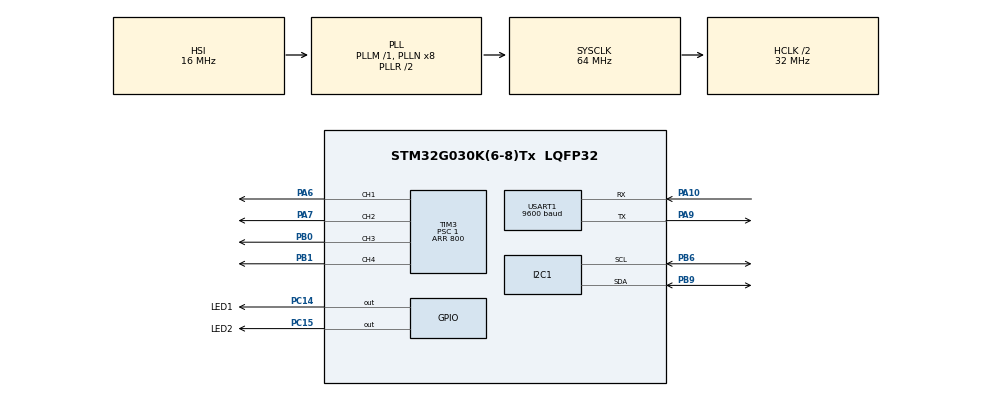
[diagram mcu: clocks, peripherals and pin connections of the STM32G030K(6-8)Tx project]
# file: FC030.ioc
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I2C1.Timing=0x00707CBB
Mcu.Family=STM32G0
Mcu.Name=STM32G030K(6-8)Tx
Mcu.Package=LQFP32
NVIC.USART1_IRQn=true\:0\:0\:false\:false\:true\:true\:true
PA10.Mode=Asynchronous
PA10.Signal=USART1_RX
PA6.GPIO_PuPd=GPIO_PULLDOWN
PA6.GPIO_Speed=GPIO_SPEED_FREQ_VERY_HIGH
PA6.Signal=S_TIM3_CH1
PA7.GPIO_PuPd=GPIO_PULLDOWN
PA7.GPIO_Speed=GPIO_SPEED_FREQ_VERY_HIGH
PA7.Signal=S_TIM3_CH2
PA9.Mode=Asynchronous
PA9.Signal=USART1_TX
PB0.GPIO_PuPd=GPIO_PULLDOWN
PB0.GPIO_Speed=GPIO_SPEED_FREQ_VERY_HIGH
PB0.Signal=S_TIM3_CH3
PB1.GPIO_PuPd=GPIO_PULLDOWN
PB1.GPIO_Speed=GPIO_SPEED_FREQ_VERY_HIGH
PB1.Signal=S_TIM3_CH4
PB6.Mode=I2C
PB6.Signal=I2C1_SCL
PB9.Mode=I2C
PB9.Signal=I2C1_SDA
PC14-OSC32_IN\ (PC14).GPIO_Label=LED1
PC14-OSC32_IN\ (PC14).Signal=GPIO_Output
PC15-OSC32_OUT\ (PC15).GPIO_Label=LED2
PC15-OSC32_OUT\ (PC15).Signal=GPIO_Output
ProjectManager.HeapSize=0x200
ProjectManager.StackSize=0x400
ProjectManager.TargetToolchain=STM32CubeIDE
RCC.ADCFreq_Value=64000000
RCC.AHBCLKDivider=RCC_SYSCLK_DIV2
RCC.AHBFreq_Value=32000000
RCC.CortexFreq_Value=32000000
RCC.EXTERNAL_CLOCK_VALUE=12288000
RCC.HCLKFreq_Value=32000000
RCC.HSE_VALUE=8000000
RCC.HSI_VALUE=16000000
RCC.LSE_VALUE=32768
RCC.SYSCLKFreq_VALUE=64000000
RCC.SYSCLKSource=RCC_SYSCLKSOURCE_PLLCLK
RCC.VCOOutputFreq_Value=128000000
SH.S_TIM3_CH1.0=TIM3_CH1,PWM Generation1 CH1
SH.S_TIM3_CH2.0=TIM3_CH2,PWM Generation2 CH2
SH.S_TIM3_CH3.0=TIM3_CH3,PWM Generation3 CH3
SH.S_TIM3_CH4.0=TIM3_CH4,PWM Generation4 CH4
TIM3.Channel-PWM\ Generation1\ CH1=TIM_CHANNEL_1
TIM3.Channel-PWM\ Generation2\ CH2=TIM_CHANNEL_2
TIM3.Channel-PWM\ Generation3\ CH3=TIM_CHANNEL_3
TIM3.Channel-PWM\ Generation4\ CH4=TIM_CHANNEL_4
TIM3.OCFastMode_PWM-PWM\ Generation1\ CH1=TIM_OCFAST_ENABLE
TIM3.OCFastMode_PWM-PWM\ Generation2\ CH2=TIM_OCFAST_ENABLE
TIM3.OCFastMode_PWM-PWM\ Generation3\ CH3=TIM_OCFAST_ENABLE
TIM3.OCFastMode_PWM-PWM\ Generation4\ CH4=TIM_OCFAST_ENABLE
TIM3.Period=800
TIM3.Prescaler=1
TIM3.Pulse-PWM\ Generation1\ CH1=400
TIM3.Pulse-PWM\ Generation2\ CH2=400
TIM3.Pulse-PWM\ Generation3\ CH3=400
TIM3.Pulse-PWM\ Generation4\ CH4=400
USART1.BaudRate=9600
USART1.VirtualMode-Asynchronous=VM_ASYNC
VP_TIM3_VS_ClockSourceINT.Mode=Internal
board=custom

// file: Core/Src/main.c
/* USER CODE BEGIN Header */
/**
  ******************************************************************************
  * @file           : main.c
  * @brief          : Main program body
  ******************************************************************************
  * @attention
  *
  * <h2><center>&copy; Copyright (c) 2025 STMicroelectronics.
  * All rights reserved.</center></h2>
  *
  * This software component is licensed by ST under BSD 3-Clause license,
  * the "License"; You may not use this file except in compliance with the
  * License. You may obtain a copy of the License at:
  *                        opensource.org/licenses/BSD-3-Clause
  *
  ******************************************************************************
  */
/* USER CODE END Header */
#include "main.h"

/* USER CODE BEGIN Includes */
#include <string.h>
#include <math.h>

void MEMS_MPU6050_Init (void);
void MEMS_MPU6050_Read_Accel (void);
void MEMS_MPU6050_Read_Gyro (void );
void calculate_IMU_error(void);

/* USER CODE END Includes */

I2C_HandleTypeDef hi2c1;

TIM_HandleTypeDef htim3;

UART_HandleTypeDef huart1;

void SystemClock_Config(void);
static void MX_GPIO_Init(void);
static void MX_TIM3_Init(void);
static void MX_I2C1_Init(void);
static void MX_USART1_UART_Init(void);

/* USER CODE BEGIN 0 */
#define MEMS_MPU6050_ADDR 		0xD0
#define WHO_AM_I_REG 		0x75
#define PWR_MGMT_1_REG 		0x6B
#define SMPLRT_DIV_REG		0x19
#define CONFIG_REG_26		0x1A
#define GYRO_CONFIG_REG		0x1B
#define ACCEL_CONFIG_REG	0x1C

#define ACCEL_XOUT_H		0x3B
#define ACCEL_XOUT_L		0x3C
#define ACCEL_YOUT_H		0X3D
#define ACCEL_YOUT_L		0x3E
#define ACCEL_ZOUT_H		0x3F
#define ACCEL_ZOUT_L		0x40

#define GYRO_XOUT_H			0x43
#define GYRO_XOUT_L			0x44
#define GYRO_YOUT_H			0x45
#define GYRO_YOUT_L			0x46
#define GYRO_ZOUT_H			0x47
#define GYRO_ZOUT_L			0x48

#define TRUE                0x1
#define FALSE               0x0

#define Stable_Speed   300
#define Full_Speed   800
#define Half_Speed   350
#define Test_Speed   600

int16_t Accel_X_RAW = 0;
int16_t Accel_Y_RAW = 0;
int16_t Accel_Z_RAW = 0;

int16_t Gyro_X_RAW = 0;
int16_t Gyro_Y_RAW = 0;
int16_t Gyro_Z_RAW = 0;

float GyroErrorX = 0;
float GyroErrorY = 0;
float GyroErrorZ = 0;

float AccErrorX = 0;
float AccErrorY = 0;
float AccErrorZ = 0;

float Ax, Ay, Az, Gx, Gy, Gz;
float AngleRoll, AnglePitch;

unsigned char Rx_data[2];
unsigned char rec_buffer[10];
unsigned char start_buf = FALSE;
int BLE_pnt = 0;
int vHalf_Speed = 0;
char BLE_connected = FALSE;

int duty_cyle1 = 0;
int duty_cyle2 = 0;
int duty_cyle3 = 0;
int duty_cyle4 = 0;

int self_drive = 10;

char INC_MOTOR1 = FALSE;
char INC_MOTOR2 = FALSE;
char INC_MOTOR3 = FALSE;
char INC_MOTOR4 = FALSE;
char DRONE_STOP = FALSE;
char DRONE_UP   = FALSE;
char DRONE_DOWN = FALSE;
char DRONE_LEFT = FALSE;
char DRONE_RIGHT = FALSE;
char DRONE_ROTATE_LEFT = FALSE;
char DRONE_ROTATE_RIGHT = FALSE;
char DRONE_IDLE = FALSE;
char DRONE_HOVER = FALSE;
char Hover_Active = FALSE;
int hover_duty1 = 0;
int hover_duty2 = 0;
int hover_duty3 = 0;
int hover_duty4 = 0;
int rotation_timeout_left = 0;
int rotation_timeout_right = 0;
int max_rotation_duration = 10; // Max rotation duration in loop cycles

char Stablize = FALSE;
char STAB1 = FALSE;
char STAB2 = FALSE;
char CALIBRATE = FALSE;

float xG = 0;
float yG = 0;
float zG = 0;
int rotate = 0;

/* USER CODE END 0 */

int main(void)
{

  /* MCU Configuration--------------------------------------------------------*/

  /* Reset of all peripherals, Initializes the Flash interface and the Systick. */
  HAL_Init();

  /* Configure the system clock */
  SystemClock_Config();

  /* Initialize all configured peripherals */
  MX_GPIO_Init();
  MX_TIM3_Init();
  MX_I2C1_Init();
  MX_USART1_UART_Init();
  /* USER CODE BEGIN 2 */
  HAL_Delay(500); // Add a small delay

  MEMS_MPU6050_Init();
  calculate_IMU_error();

  htim3.Instance->CCR1 = duty_cyle1;
  htim3.Instance->CCR2 = duty_cyle2;
  htim3.Instance->CCR3 = duty_cyle3;
  htim3.Instance->CCR4 = duty_cyle4;
  HAL_TIM_PWM_Start(&htim3, TIM_CHANNEL_1);
  HAL_TIM_PWM_Start(&htim3, TIM_CHANNEL_2);
  HAL_TIM_PWM_Start(&htim3, TIM_CHANNEL_3);
  HAL_TIM_PWM_Start(&htim3, TIM_CHANNEL_4);
  HAL_UART_Receive_IT(&huart1, Rx_data, 1);
  //unsigned char response[125]; //Enough to return all holding-r's
  HAL_GPIO_WritePin(GPIOC, LED1_Pin, GPIO_PIN_SET);
  HAL_GPIO_WritePin(GPIOC, LED2_Pin, GPIO_PIN_RESET);

  // Brief startup sequence
  int startup_speed = 70;
  htim3.Instance->CCR1 = startup_speed;
  htim3.Instance->CCR2 = startup_speed;
  htim3.Instance->CCR3 = startup_speed;
  htim3.Instance->CCR4 = startup_speed;
  HAL_Delay(2000);
  htim3.Instance->CCR1 = 0;
  htim3.Instance->CCR2 = 0;
  htim3.Instance->CCR3 = 0;
  htim3.Instance->CCR4 = 0;

  /* USER CODE END 2 */

  /* Infinite loop */
  while (1)
  {

    /* USER CODE BEGIN 3 */
	  HAL_GPIO_WritePin(GPIOC, LED1_Pin, GPIO_PIN_RESET);
	  HAL_GPIO_WritePin(GPIOC, LED2_Pin, GPIO_PIN_RESET);

	  HAL_Delay(5);
	  MEMS_MPU6050_Read_Accel ();
	  HAL_Delay(5);
	  MEMS_MPU6050_Read_Gyro();
	  HAL_Delay(5);

	  if (DRONE_HOVER)
	  {
		  // Set hover to full power for all motors and update duty cycle variables
		  duty_cyle1 = Full_Speed;
		  duty_cyle2 = Full_Speed;
		  duty_cyle3 = Full_Speed;
		  duty_cyle4 = Full_Speed;
		  Hover_Active = TRUE;

		  // Set motors to hover speeds
		  htim3.Instance->CCR1 = duty_cyle1;
		  htim3.Instance->CCR2 = duty_cyle2;
		  htim3.Instance->CCR3 = duty_cyle3;
		  htim3.Instance->CCR4 = duty_cyle4;

		  DRONE_HOVER = FALSE;
	  }

	  if (DRONE_IDLE)
	  {
		  Hover_Active = FALSE; // Disable hover when going idle
		  duty_cyle1 = 0;
		  duty_cyle2 = 0;
		  duty_cyle3 = 0;
		  duty_cyle4 = 0;
		  htim3.Instance->CCR1 = duty_cyle1;
		  htim3.Instance->CCR2 = duty_cyle2;
		  htim3.Instance->CCR3 = duty_cyle3;
		  htim3.Instance->CCR4 = duty_cyle4;
		  DRONE_IDLE = FALSE;
	  }

	  if (INC_MOTOR1)
	  {
		  // Test front motors at half speed
		  htim3.Instance->CCR1 = Half_Speed;
		  htim3.Instance->CCR2 = Half_Speed;
		  INC_MOTOR1 = FALSE;
	  }

	  if (INC_MOTOR2)
	  {
		  // Test rear motors at half speed
		  htim3.Instance->CCR3 = Half_Speed;
		  htim3.Instance->CCR4 = Half_Speed;
		  INC_MOTOR2 = FALSE;
	  }

	  if (INC_MOTOR3)
	  {
		  duty_cyle3 += 20;
		  if (duty_cyle3 > Full_Speed)
			  duty_cyle3 = Full_Speed; // full speed
		  INC_MOTOR3 = FALSE;
		  htim3.Instance->CCR3 = duty_cyle3;
	  }

	  if (INC_MOTOR4)
	  {
		  duty_cyle4 += 20;
		  if (duty_cyle4 > Full_Speed)
			  duty_cyle4 = Full_Speed; // full speed
		  INC_MOTOR4 = FALSE;
		  htim3.Instance->CCR4 = duty_cyle4;
	  }

	  if (DRONE_UP)
	  {
		  // Safety check: Only allow movement if not at maximum speed
		  if ((duty_cyle1 < Full_Speed) || (duty_cyle2 < Full_Speed) ||
			  (duty_cyle3 < Full_Speed) || (duty_cyle4 < Full_Speed))
		  {
			  duty_cyle1 += 20;
			  duty_cyle2 += 20;
			  duty_cyle3 += 20;
			  duty_cyle4 += 20;

			  // Bounds checking
			  if (duty_cyle1 > Full_Speed) duty_cyle1 = Full_Speed;
			  if (duty_cyle2 > Full_Speed) duty_cyle2 = Full_Speed;
			  if (duty_cyle3 > Full_Speed) duty_cyle3 = Full_Speed;
			  if (duty_cyle4 > Full_Speed) duty_cyle4 = Full_Speed;

			  htim3.Instance->CCR1 = duty_cyle1;
			  htim3.Instance->CCR2 = duty_cyle2;
			  htim3.Instance->CCR3 = duty_cyle3;
			  htim3.Instance->CCR4 = duty_cyle4;
		  }

		  DRONE_UP = FALSE;
	  }

	  if (DRONE_DOWN)
	  {
		  // Safety check: Only allow movement if motors are running
		  if ((duty_cyle1 > 0) || (duty_cyle2 > 0) || (duty_cyle3 > 0) || (duty_cyle4 > 0))
		  {
			  duty_cyle1 -= 20;
			  duty_cyle2 -= 20;
			  duty_cyle3 -= 20;
			  duty_cyle4 -= 20;

			  // Bounds checking
			  if (duty_cyle1 < 0) duty_cyle1 = 0;
			  if (duty_cyle2 < 0) duty_cyle2 = 0;
			  if (duty_cyle3 < 0) duty_cyle3 = 0;
			  if (duty_cyle4 < 0) duty_cyle4 = 0;

			  htim3.Instance->CCR1 = duty_cyle1;
			  htim3.Instance->CCR2 = duty_cyle2;
			  htim3.Instance->CCR3 = duty_cyle3;
			  htim3.Instance->CCR4 = duty_cyle4;
		  }

		  DRONE_DOWN = FALSE;
	  }

	  if (DRONE_LEFT)
	  {
		  // Safety check: Only allow movement if motors are running at minimum speed
		  int min_speed = 100;
		  if ((duty_cyle1 >= min_speed) || (duty_cyle2 >= min_speed) ||
			  (duty_cyle3 >= min_speed) || (duty_cyle4 >= min_speed))
		  {
			  // Increase right motors, decrease left motors for left movement
			  duty_cyle2 += 20; // Right front
			  duty_cyle4 += 20; // Right rear
			  duty_cyle1 -= 10; // Left front
			  duty_cyle3 -= 10; // Left rear

			  // Bounds checking
			  if (duty_cyle2 > Full_Speed) duty_cyle2 = Full_Speed;
			  if (duty_cyle4 > Full_Speed) duty_cyle4 = Full_Speed;
			  if (duty_cyle1 < 0) duty_cyle1 = 0;
			  if (duty_cyle3 < 0) duty_cyle3 = 0;

			  htim3.Instance->CCR1 = duty_cyle1;
			  htim3.Instance->CCR2 = duty_cyle2;
			  htim3.Instance->CCR3 = duty_cyle3;
			  htim3.Instance->CCR4 = duty_cyle4;
		  }

		  DRONE_LEFT = FALSE;
	  }

	  if (DRONE_RIGHT)
	  {
		  // Safety check: Only allow movement if motors are running at minimum speed
		  int min_speed = 100;
		  if ((duty_cyle1 >= min_speed) || (duty_cyle2 >= min_speed) ||
			  (duty_cyle3 >= min_speed) || (duty_cyle4 >= min_speed))
		  {
			  // Increase left motors, decrease right motors for right movement
			  duty_cyle1 += 20; // Left front
			  duty_cyle3 += 20; // Left rear
			  duty_cyle2 -= 10; // Right front
			  duty_cyle4 -= 10; // Right rear

			  // Bounds checking
			  if (duty_cyle1 > Full_Speed) duty_cyle1 = Full_Speed;
			  if (duty_cyle3 > Full_Speed) duty_cyle3 = Full_Speed;
			  if (duty_cyle2 < 0) duty_cyle2 = 0;
			  if (duty_cyle4 < 0) duty_cyle4 = 0;

			  htim3.Instance->CCR1 = duty_cyle1;
			  htim3.Instance->CCR2 = duty_cyle2;
			  htim3.Instance->CCR3 = duty_cyle3;
			  htim3.Instance->CCR4 = duty_cyle4;
		  }

		  DRONE_RIGHT = FALSE;
	  }

	  if (DRONE_ROTATE_LEFT)
	  {
		  // Safety check: Only allow rotation if motors are running at minimum speed
		  int min_speed = 100; // Minimum speed threshold for rotation
		  if ((duty_cyle1 >= min_speed) || (duty_cyle2 >= min_speed) ||
			  (duty_cyle3 >= min_speed) || (duty_cyle4 >= min_speed))
		  {
			  // Start rotation timeout counter
			  if (rotation_timeout_left == 0)
				  rotation_timeout_left = max_rotation_duration;

			  if (rotation_timeout_left > 0)
			  {
				  // Rotate left: Increase front-left & rear-right, decrease front-right & rear-left
				  duty_cyle1 += 15; // Front left +
				  duty_cyle4 += 15; // Rear right +
				  duty_cyle2 -= 15; // Front right -
				  duty_cyle3 -= 15; // Rear left -

				  // Bounds checking
				  if (duty_cyle1 > Full_Speed) duty_cyle1 = Full_Speed;
				  if (duty_cyle4 > Full_Speed) duty_cyle4 = Full_Speed;
				  if (duty_cyle2 < 0) duty_cyle2 = 0;
				  if (duty_cyle3 < 0) duty_cyle3 = 0;

				  htim3.Instance->CCR1 = duty_cyle1;
				  htim3.Instance->CCR2 = duty_cyle2;
				  htim3.Instance->CCR3 = duty_cyle3;
				  htim3.Instance->CCR4 = duty_cyle4;

				  rotation_timeout_left--;
			  }
		  }

		  // Reset rotation flag when timeout expires or safety check fails
		  if (rotation_timeout_left <= 0)
		  {
			  DRONE_ROTATE_LEFT = FALSE;
			  rotation_timeout_left = 0;
		  }
	  }
	  else
	  {
		  // Reset timeout when command is not active
		  rotation_timeout_left = 0;
	  }

	  if (DRONE_ROTATE_RIGHT)
	  {
		  // Safety check: Only allow rotation if motors are running at minimum speed
		  int min_speed = 100; // Minimum speed threshold for rotation
		  if ((duty_cyle1 >= min_speed) || (duty_cyle2 >= min_speed) ||
			  (duty_cyle3 >= min_speed) || (duty_cyle4 >= min_speed))
		  {
			  // Start rotation timeout counter
			  if (rotation_timeout_right == 0)
				  rotation_timeout_right = max_rotation_duration;

			  if (rotation_timeout_right > 0)
			  {
				  // Rotate right: Increase front-right & rear-left, decrease front-left & rear-right
				  duty_cyle2 += 15; // Front right +
				  duty_cyle3 += 15; // Rear left +
				  duty_cyle1 -= 15; // Front left -
				  duty_cyle4 -= 15; // Rear right -

				  // Bounds checking
				  if (duty_cyle2 > Full_Speed) duty_cyle2 = Full_Speed;
				  if (duty_cyle3 > Full_Speed) duty_cyle3 = Full_Speed;
				  if (duty_cyle1 < 0) duty_cyle1 = 0;
				  if (duty_cyle4 < 0) duty_cyle4 = 0;

				  htim3.Instance->CCR1 = duty_cyle1;
				  htim3.Instance->CCR2 = duty_cyle2;
				  htim3.Instance->CCR3 = duty_cyle3;
				  htim3.Instance->CCR4 = duty_cyle4;

				  rotation_timeout_right--;
			  }
		  }

		  // Reset rotation flag when timeout expires or safety check fails
		  if (rotation_timeout_right <= 0)
		  {
			  DRONE_ROTATE_RIGHT = FALSE;
			  rotation_timeout_right = 0;
		  }
	  }
	  else
	  {
		  // Reset timeout when command is not active
		  rotation_timeout_right = 0;
	  }

	  if (DRONE_STOP)
	  {
		  Hover_Active = FALSE; // Disable hover when stopping

		  // Smoothly decrement each motor down to 0 instead of instant stop
		  int step = 20; // decrement step per iteration
		  while ((duty_cyle1 > 0) || (duty_cyle2 > 0) || (duty_cyle3 > 0) || (duty_cyle4 > 0))
		  {
			  if (duty_cyle1 > 0)
			  {
				  duty_cyle1 -= step;
				  if (duty_cyle1 < 0) duty_cyle1 = 0;
			  }
			  if (duty_cyle2 > 0)
			  {
				  duty_cyle2 -= step;
				  if (duty_cyle2 < 0) duty_cyle2 = 0;
			  }
			  if (duty_cyle3 > 0)
			  {
				  duty_cyle3 -= step;
				  if (duty_cyle3 < 0) duty_cyle3 = 0;
			  }
			  if (duty_cyle4 > 0)
			  {
				  duty_cyle4 -= step;
				  if (duty_cyle4 < 0) duty_cyle4 = 0;
			  }

			  htim3.Instance->CCR1 = duty_cyle1;
			  htim3.Instance->CCR2 = duty_cyle2;
			  htim3.Instance->CCR3 = duty_cyle3;
			  htim3.Instance->CCR4 = duty_cyle4;
			  HAL_Delay(20);
		  }
		  DRONE_STOP = FALSE;
	  }

	  // Update PWM outputs to match duty cycle variables
	  htim3.Instance->CCR1 = duty_cyle1;
	  htim3.Instance->CCR2 = duty_cyle2;
	  htim3.Instance->CCR3 = duty_cyle3;
	  htim3.Instance->CCR4 = duty_cyle4;

	  HAL_Delay(20);
  }
  /* USER CODE END 3 */
}

void SystemClock_Config(void)
{
  RCC_OscInitTypeDef RCC_OscInitStruct = {0};
  RCC_ClkInitTypeDef RCC_ClkInitStruct = {0};
  RCC_PeriphCLKInitTypeDef PeriphClkInit = {0};

  /** Configure the main internal regulator output voltage
  */
  HAL_PWREx_ControlVoltageScaling(PWR_REGULATOR_VOLTAGE_SCALE1);
  /** Initializes the RCC Oscillators according to the specified parameters
  * in the RCC_OscInitTypeDef structure.
  */
  RCC_OscInitStruct.OscillatorType = RCC_OSCILLATORTYPE_HSI;
  RCC_OscInitStruct.HSIState = RCC_HSI_ON;
  RCC_OscInitStruct.HSIDiv = RCC_HSI_DIV1;
  RCC_OscInitStruct.HSICalibrationValue = RCC_HSICALIBRATION_DEFAULT;
  RCC_OscInitStruct.PLL.PLLState = RCC_PLL_ON;
  RCC_OscInitStruct.PLL.PLLSource = RCC_PLLSOURCE_HSI;
  RCC_OscInitStruct.PLL.PLLM = RCC_PLLM_DIV1;
  RCC_OscInitStruct.PLL.PLLN = 8;
  RCC_OscInitStruct.PLL.PLLP = RCC_PLLP_DIV2;
  RCC_OscInitStruct.PLL.PLLR = RCC_PLLR_DIV2;
  if (HAL_RCC_OscConfig(&RCC_OscInitStruct) != HAL_OK)
  {
    Error_Handler();
  }
  /** Initializes the CPU, AHB and APB buses clocks
  */
  RCC_ClkInitStruct.ClockType = RCC_CLOCKTYPE_HCLK|RCC_CLOCKTYPE_SYSCLK
                              |RCC_CLOCKTYPE_PCLK1;
  RCC_ClkInitStruct.SYSCLKSource = RCC_SYSCLKSOURCE_PLLCLK;
  RCC_ClkInitStruct.AHBCLKDivider = RCC_SYSCLK_DIV2;
  RCC_ClkInitStruct.APB1CLKDivider = RCC_HCLK_DIV1;

  if (HAL_RCC_ClockConfig(&RCC_ClkInitStruct, FLASH_LATENCY_1) != HAL_OK)
  {
    Error_Handler();
  }
  /** Initializes the peripherals clocks
  */
  PeriphClkInit.PeriphClockSelection = RCC_PERIPHCLK_USART1|RCC_PERIPHCLK_I2C1;
  PeriphClkInit.Usart1ClockSelection = RCC_USART1CLKSOURCE_PCLK1;
  PeriphClkInit.I2c1ClockSelection = RCC_I2C1CLKSOURCE_PCLK1;
  if (HAL_RCCEx_PeriphCLKConfig(&PeriphClkInit) != HAL_OK)
  {
    Error_Handler();
  }
}

static void MX_I2C1_Init(void)
{

  hi2c1.Instance = I2C1;
  hi2c1.Init.Timing = 0x00707CBB;
  hi2c1.Init.OwnAddress1 = 0;
  hi2c1.Init.AddressingMode = I2C_ADDRESSINGMODE_7BIT;
  hi2c1.Init.DualAddressMode = I2C_DUALADDRESS_DISABLE;
  hi2c1.Init.OwnAddress2 = 0;
  hi2c1.Init.OwnAddress2Masks = I2C_OA2_NOMASK;
  hi2c1.Init.GeneralCallMode = I2C_GENERALCALL_DISABLE;
  hi2c1.Init.NoStretchMode = I2C_NOSTRETCH_DISABLE;
  if (HAL_I2C_Init(&hi2c1) != HAL_OK)
  {
    Error_Handler();
  }
  /** Configure Analogue filter
  */
  if (HAL_I2CEx_ConfigAnalogFilter(&hi2c1, I2C_ANALOGFILTER_ENABLE) != HAL_OK)
  {
    Error_Handler();
  }
  /** Configure Digital filter
  */
  if (HAL_I2CEx_ConfigDigitalFilter(&hi2c1, 0) != HAL_OK)
  {
    Error_Handler();
  }

}

static void MX_TIM3_Init(void)
{

  TIM_ClockConfigTypeDef sClockSourceConfig = {0};
  TIM_MasterConfigTypeDef sMasterConfig = {0};
  TIM_OC_InitTypeDef sConfigOC = {0};

  htim3.Instance = TIM3;
  htim3.Init.Prescaler = 1;
  htim3.Init.CounterMode = TIM_COUNTERMODE_UP;
  htim3.Init.Period = 800;
  htim3.Init.ClockDivision = TIM_CLOCKDIVISION_DIV1;
  htim3.Init.AutoReloadPreload = TIM_AUTORELOAD_PRELOAD_DISABLE;
  if (HAL_TIM_Base_Init(&htim3) != HAL_OK)
  {
    Error_Handler();
  }
  sClockSourceConfig.ClockSource = TIM_CLOCKSOURCE_INTERNAL;
  if (HAL_TIM_ConfigClockSource(&htim3, &sClockSourceConfig) != HAL_OK)
  {
    Error_Handler();
  }
  if (HAL_TIM_PWM_Init(&htim3) != HAL_OK)
  {
    Error_Handler();
  }
  sMasterConfig.MasterOutputTrigger = TIM_TRGO_RESET;
  sMasterConfig.MasterSlaveMode = TIM_MASTERSLAVEMODE_DISABLE;
  if (HAL_TIMEx_MasterConfigSynchronization(&htim3, &sMasterConfig) != HAL_OK)
  {
    Error_Handler();
  }
  sConfigOC.OCMode = TIM_OCMODE_PWM1;
  sConfigOC.Pulse = 400;
  sConfigOC.OCPolarity = TIM_OCPOLARITY_HIGH;
  sConfigOC.OCFastMode = TIM_OCFAST_ENABLE;
  if (HAL_TIM_PWM_ConfigChannel(&htim3, &sConfigOC, TIM_CHANNEL_1) != HAL_OK)
  {
    Error_Handler();
  }
  if (HAL_TIM_PWM_ConfigChannel(&htim3, &sConfigOC, TIM_CHANNEL_2) != HAL_OK)
  {
    Error_Handler();
  }
  if (HAL_TIM_PWM_ConfigChannel(&htim3, &sConfigOC, TIM_CHANNEL_3) != HAL_OK)
  {
    Error_Handler();
  }
  if (HAL_TIM_PWM_ConfigChannel(&htim3, &sConfigOC, TIM_CHANNEL_4) != HAL_OK)
  {
    Error_Handler();
  }
  HAL_TIM_MspPostInit(&htim3);

}

static void MX_USART1_UART_Init(void)
{

  huart1.Instance = USART1;
  huart1.Init.BaudRate = 9600;
  huart1.Init.WordLength = UART_WORDLENGTH_8B;
  huart1.Init.StopBits = UART_STOPBITS_1;
  huart1.Init.Parity = UART_PARITY_NONE;
  huart1.Init.Mode = UART_MODE_TX_RX;
  huart1.Init.HwFlowCtl = UART_HWCONTROL_NONE;
  huart1.Init.OverSampling = UART_OVERSAMPLING_16;
  huart1.Init.OneBitSampling = UART_ONE_BIT_SAMPLE_DISABLE;
  huart1.Init.ClockPrescaler = UART_PRESCALER_DIV1;
  huart1.AdvancedInit.AdvFeatureInit = UART_ADVFEATURE_NO_INIT;
  if (HAL_UART_Init(&huart1) != HAL_OK)
  {
    Error_Handler();
  }
  if (HAL_UARTEx_SetTxFifoThreshold(&huart1, UART_TXFIFO_THRESHOLD_1_8) != HAL_OK)
  {
    Error_Handler();
  }
  if (HAL_UARTEx_SetRxFifoThreshold(&huart1, UART_RXFIFO_THRESHOLD_1_8) != HAL_OK)
  {
    Error_Handler();
  }
  if (HAL_UARTEx_DisableFifoMode(&huart1) != HAL_OK)
  {
    Error_Handler();
  }

}

static void MX_GPIO_Init(void)
{
  GPIO_InitTypeDef GPIO_InitStruct = {0};

  /* GPIO Ports Clock Enable */
  __HAL_RCC_GPIOB_CLK_ENABLE();
  __HAL_RCC_GPIOC_CLK_ENABLE();
  __HAL_RCC_GPIOA_CLK_ENABLE();

  /*Configure GPIO pin Output Level */
  HAL_GPIO_WritePin(GPIOC, LED1_Pin|LED2_Pin, GPIO_PIN_RESET);

  /*Configure GPIO pins : LED1_Pin LED2_Pin */
  GPIO_InitStruct.Pin = LED1_Pin|LED2_Pin;
  GPIO_InitStruct.Mode = GPIO_MODE_OUTPUT_PP;
  GPIO_InitStruct.Pull = GPIO_NOPULL;
  GPIO_InitStruct.Speed = GPIO_SPEED_FREQ_LOW;
  HAL_GPIO_Init(GPIOC, &GPIO_InitStruct);

}

/* USER CODE BEGIN 4 */
void MEMS_MPU6050_Init (void)
{
	uint8_t check;
	uint8_t Data;

	// check device ID WHO_AM_I

	HAL_I2C_Mem_Read (&hi2c1, MEMS_MPU6050_ADDR,WHO_AM_I_REG,1, &check, 1, 1000);

	if (check == 104)  // 0x68 will be returned by the sensor if everything goes well
	{
		// power management register 0X6B we should write all 0's to wake the sensor up
		Data = 0;
		HAL_I2C_Mem_Write(&hi2c1, MEMS_MPU6050_ADDR, PWR_MGMT_1_REG, 1,&Data, 1, 1000);
		HAL_Delay(100); // Add a small delay
		// Set DATA RATE of 1KHz by writing SMPLRT_DIV register
		// Set Sample Rate Divider, Accelerometer, and Gyroscope configurations
		HAL_I2C_Mem_Write(&hi2c1, MEMS_MPU6050_ADDR, SMPLRT_DIV_REG, 1, &Data, 1, 1000);
		Data = 0x00;
		HAL_Delay(100); // Add a small delay
		HAL_I2C_Mem_Write(&hi2c1, MEMS_MPU6050_ADDR, ACCEL_CONFIG_REG, 1, &Data, 1, 1000);
		Data = 0x00;
		HAL_Delay(100); // Add a small delay
		HAL_I2C_Mem_Write(&hi2c1, MEMS_MPU6050_ADDR, GYRO_CONFIG_REG, 1, &Data, 1, 1000);
		HAL_Delay(100); // Add a small delay
	}

}

void MEMS_MPU6050_Read_Accel (void)
{
	uint8_t Rec_Data[6];

	// Read 6 BYTES of data starting from ACCEL_XOUT_H register

	HAL_I2C_Mem_Read (&hi2c1, MEMS_MPU6050_ADDR, ACCEL_XOUT_H, 1, Rec_Data, 6, 1000);

	Accel_X_RAW = (int16_t)(Rec_Data[0] << 8 | Rec_Data [1]);
	Accel_Y_RAW = (int16_t)(Rec_Data[2] << 8 | Rec_Data [3]);
	Accel_Z_RAW = (int16_t)(Rec_Data[4] << 8 | Rec_Data [5]);

	/*** convert the RAW values into acceleration in 'g'
	     we have to divide according to the Full scale value set in FS_SEL
	     I have configured FS_SEL = 0. So I am dividing by 16384.0
	     for more details check ACCEL_CONFIG Register              ****/

	Ax = Accel_X_RAW/16384.0;
	Ay = Accel_Y_RAW/16384.0;
	Az = Accel_Z_RAW/16384.0;

	if (Ay > 0.4) // positive value
	{
		HAL_GPIO_WritePin(GPIOC, LED1_Pin, GPIO_PIN_SET);
		HAL_Delay(50);
		STAB2 = TRUE;
	}
	if (Ay < -0.4)
	{
		HAL_GPIO_WritePin(GPIOC, LED2_Pin, GPIO_PIN_SET);
		HAL_Delay(50);
		STAB1 = TRUE;
	}
}

void ClearUARTFlags( void)
{
    __HAL_UART_CLEAR_FLAG(&huart1, UART_FLAG_PE);
    __HAL_UART_CLEAR_FLAG(&huart1, UART_FLAG_FE);
    __HAL_UART_CLEAR_FLAG(&huart1, UART_FLAG_NE);
    __HAL_UART_CLEAR_FLAG(&huart1, UART_FLAG_ORE);
}

void calculate_IMU_error()
{
	int c = 0;
	uint8_t Rec_Data[6];

	AccErrorX = 0;
	AccErrorY = 0;
	AccErrorZ = 0;

	while (c < 200) {
		HAL_I2C_Mem_Read (&hi2c1, MEMS_MPU6050_ADDR, ACCEL_XOUT_H, 1, Rec_Data, 6, 1000);

		Accel_X_RAW = (int16_t)(Rec_Data[0] << 8 | Rec_Data [1]);
		Accel_Y_RAW = (int16_t)(Rec_Data[2] << 8 | Rec_Data [3]);
		Accel_Z_RAW = (int16_t)(Rec_Data[4] << 8 | Rec_Data [5]);

		AccErrorX += Accel_X_RAW/16384.0;
		AccErrorY += Accel_Y_RAW/16384.0;
		AccErrorZ += Accel_Z_RAW/16384.0;
		c++;
  }
  //Divide the sum by 200 to get the error value

	AccErrorX = AccErrorX / 200;
	AccErrorY = AccErrorY / 200;
	AccErrorZ = AccErrorZ / 200;

	c = 0;
  // Read gyro values 200 times
	GyroErrorX = 0;
    GyroErrorY = 0;
    GyroErrorZ = 0;

	while (c < 200) {

		HAL_I2C_Mem_Read (&hi2c1, MEMS_MPU6050_ADDR, GYRO_XOUT_H, 1, Rec_Data, 6, 1000);

		Gyro_X_RAW = (int16_t)(Rec_Data[0] << 8 | Rec_Data [1]);
		Gyro_Y_RAW = (int16_t)(Rec_Data[2] << 8 | Rec_Data [3]);
		Gyro_Z_RAW = (int16_t)(Rec_Data[4] << 8 | Rec_Data [5]);
	    // Sum all readings
		GyroErrorX = GyroErrorX + (Gyro_X_RAW / 131.0);
		GyroErrorY = GyroErrorY + (Gyro_Y_RAW / 131.0);
		GyroErrorZ = GyroErrorZ + (Gyro_Z_RAW / 131.0);
	    c++;
	}
  //Divide the sum by 200 to get the error value
  GyroErrorX = GyroErrorX / 200;
  GyroErrorY = GyroErrorY / 200;
  GyroErrorZ = GyroErrorZ / 200;
}

void MEMS_MPU6050_Read_Gyro (void)
{
	uint8_t Rec_Data[6];

	HAL_I2C_Mem_Read (&hi2c1, MEMS_MPU6050_ADDR, GYRO_XOUT_H, 1, Rec_Data, 6, 1000);

	Gyro_X_RAW = (int16_t)(Rec_Data[0] << 8 | Rec_Data [1]);
	Gyro_Y_RAW = (int16_t)(Rec_Data[2] << 8 | Rec_Data [3]);
	Gyro_Z_RAW = (int16_t)(Rec_Data[4] << 8 | Rec_Data [5]);

	Gx = Gyro_X_RAW/131.0;
	Gy = Gyro_Y_RAW/131.0;
	Gz = Gyro_Z_RAW/131.0;

	Gx = Gx - GyroErrorX; // GyroErrorX ~(-0.56)
	Gy = Gy - GyroErrorY; // GyroErrorY ~(2)
	Gz = Gz - GyroErrorZ; // GyroErrorZ ~ (-0.8)

	if (Gx > 1)
	{
		HAL_GPIO_WritePin(GPIOC, LED1_Pin, GPIO_PIN_SET);
		STAB1 = TRUE;

		HAL_Delay(500);
	}

	if (Gx < -1)
	{
		HAL_GPIO_WritePin(GPIOC, LED2_Pin, GPIO_PIN_SET);
		STAB2 = TRUE;
		HAL_Delay(500);
	}
}

void HAL_UART_RxCpltCallback(UART_HandleTypeDef *huart)
{
	if (huart == &huart1)
	{
		// Simple command processing
		BLE_connected = TRUE;

		if ((Rx_data[0] == 'M') ||
				(Rx_data[0] == '0') ||
				(Rx_data[0] == '1') ||
				(Rx_data[0] == '2') ||
				(Rx_data[0] == '3') ||
				(Rx_data[0] == 'X') ||
				(Rx_data[0] == 'U') ||
				(Rx_data[0] == 'D') ||
				(Rx_data[0] == 'L') ||
				(Rx_data[0] == 'R') ||
				(Rx_data[0] == 'Q') ||
				(Rx_data[0] == 'E') ||
				(Rx_data[0] == 'H') ||
				(Rx_data[0] == 'S'))
		{
			rec_buffer[BLE_pnt] = Rx_data[0];
			BLE_pnt++;
			if (BLE_pnt >= 2)
			{
				if ((rec_buffer[0] == 'M') && (rec_buffer[1] == 'H'))
				{
					DRONE_HOVER = TRUE;
					unsigned char msg[] = "H\r\n";
					HAL_UART_Transmit(&huart1, msg, 3, 100);
				} else
				if ((rec_buffer[0] == 'M') && (rec_buffer[1] == 'S'))
				{
					DRONE_IDLE = TRUE;
					unsigned char msg[] = "S\r\n";
					HAL_UART_Transmit(&huart1, msg, 3, 100);
				} else
				if ((rec_buffer[0] == 'M') && (rec_buffer[1] == '0'))
				{
					INC_MOTOR1 = TRUE;
					unsigned char msg[] = "0\r\n";
					HAL_UART_Transmit(&huart1, msg, 3, 100);
				}
				else if ((rec_buffer[0] == 'M') && (rec_buffer[1] == '1'))
				{
					INC_MOTOR2 = TRUE;
					unsigned char msg[] = "1\r\n";
					HAL_UART_Transmit(&huart1, msg, 3, 100);
				}
				else if ((rec_buffer[0] == 'M') && (rec_buffer[1] == '2'))
				{
					INC_MOTOR3 = TRUE;
					unsigned char msg[] = "2\r\n";
					HAL_UART_Transmit(&huart1, msg, 3, 100);
				}
				else if ((rec_buffer[0] == 'M') && (rec_buffer[1] == '3'))
				{
					INC_MOTOR4 = TRUE;
					unsigned char msg[] = "3\r\n";
					HAL_UART_Transmit(&huart1, msg, 3, 100);
				}
				else if((rec_buffer[0] == 'M') && (rec_buffer[1] == 'U'))
				{
					DRONE_UP = TRUE;
					unsigned char msg[] = "U\r\n";
					HAL_UART_Transmit(&huart1, msg, 3, 100);
				}
				else if((rec_buffer[0] == 'M') && (rec_buffer[1] == 'D'))
				{
					DRONE_DOWN = TRUE;
					unsigned char msg[] = "D\r\n";
					HAL_UART_Transmit(&huart1, msg, 3, 100);
				}
				else if((rec_buffer[0] == 'M') && (rec_buffer[1] == 'L'))
				{
					DRONE_LEFT = TRUE;
					unsigned char msg[] = "L\r\n";
					HAL_UART_Transmit(&huart1, msg, 3, 100);
				}
				else if((rec_buffer[0] == 'M') && (rec_buffer[1] == 'R'))
				{
					DRONE_RIGHT = TRUE;
					unsigned char msg[] = "R\r\n";
					HAL_UART_Transmit(&huart1, msg, 3, 100);
				}
				else if((rec_buffer[0] == 'M') && (rec_buffer[1] == 'Q'))
				{
					DRONE_ROTATE_LEFT = TRUE;
					unsigned char msg[] = "Q\r\n";
					HAL_UART_Transmit(&huart1, msg, 3, 100);
				}
				else if((rec_buffer[0] == 'M') && (rec_buffer[1] == 'E'))
				{
					DRONE_ROTATE_RIGHT = TRUE;
					unsigned char msg[] = "E\r\n";
					HAL_UART_Transmit(&huart1, msg, 3, 100);
				}
				else if((rec_buffer[0] == 'M') && (rec_buffer[1] == 'X'))
				{
					DRONE_STOP = TRUE;
					unsigned char msg[] = "X\r\n";
					HAL_UART_Transmit(&huart1, msg, 3, 100);
				}
				else
				{
					INC_MOTOR1 = FALSE;
					INC_MOTOR2 = FALSE;
					INC_MOTOR3 = FALSE;
					INC_MOTOR4 = FALSE;
					DRONE_UP = FALSE;
					DRONE_DOWN = FALSE;
					DRONE_LEFT = FALSE;
					DRONE_RIGHT = FALSE;
					DRONE_ROTATE_LEFT = FALSE;
					DRONE_ROTATE_RIGHT = FALSE;
				}
				BLE_pnt = 0;
			}
		} else
			BLE_pnt = 0;

		HAL_UART_Receive_IT(&huart1, Rx_data, 1);
/*		rec_buffer[index] = Rx_data[0];
		index++;
		if (index > 10)
			index = 9;
		HAL_UART_Receive_IT(&huart1, Rx_data, 2);
		*/
//		if (index >= 8)
//			CompletePacket = 1;
	}
}

/* USER CODE END 4 */

void Error_Handler(void)
{
}

/************************ (C) COPYRIGHT STMicroelectronics *****END OF FILE****/
